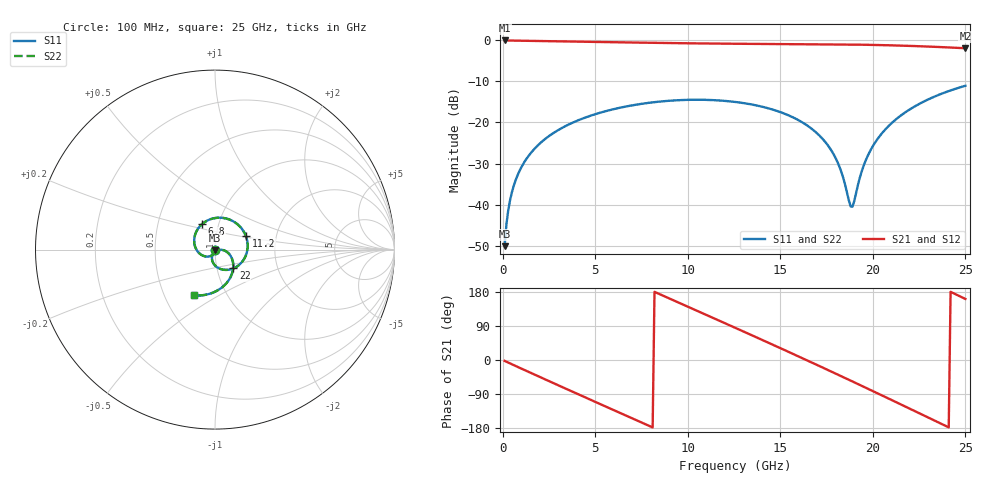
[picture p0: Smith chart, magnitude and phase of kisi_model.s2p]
! kisi C_s8_ap600: fast channel model (formula impedances, via model), up to 25 GHz
# Hz S RI R 50
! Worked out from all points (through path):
!   250 points, 100 MHz to 25 GHz, reference 50 ohm
!   highest |S21| = -0.02 dB at 100 MHz (marker M1); lowest = -1.9 dB at 25 GHz (marker M2)
!   group delay of S21, straight-line fit = 61.7 ps
!   lowest |S11| = -50.1 dB at 100 MHz (marker M3), VSWR 1.01, Z = 50.1 - j0.286 ohm
!   |S11| at or under -10 dB: start of sweep to end of sweep
!   |S22| runs from -50.1 to -11.1 dB; largest |S21 - S12| = 0
!   S11 on the Smith chart (normalised r, x): 100 MHz: 1.00, -0.01; 6.8 GHz: 0.83, +0.24; 11.2 GHz: 1.40, +0.22; 22 GHz: 1.20, -0.25; 25 GHz: 0.70, -0.39
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1e8  0.00126 -0.00285  0.997 -0.0406  0.997 -0.0406  0.00126 -0.00285
2e8  0.000961 -0.00574  0.9937 -0.0802  0.9937 -0.0802  0.000961 -0.00574
4e8  -0.000423 -0.0115  0.9826 -0.1581  0.9826 -0.1581  -0.000423 -0.0115
1.1e9  -0.0124 -0.0286  0.8984 -0.415  0.8984 -0.415  -0.0124 -0.0286
2.8e9  -0.0683 -0.0333  0.4527 -0.8647  0.4527 -0.8647  -0.0683 -0.0333
4.3e9  -0.1103 0.0151  -0.0882 -0.9596  -0.0882 -0.9596  -0.1103 0.0151
5.5e9  -0.1127 0.0765  -0.4976 -0.8137  -0.4976 -0.8137  -0.1127 0.0765
6.8e9  -0.0737 0.1407  -0.8148 -0.4753  -0.8148 -0.4753  -0.0737 0.1407
8.4e9  0.0207 0.1777  -0.9286 0.0729  -0.9286 0.0729  0.0207 0.1777
9.7e9  0.1059 0.155  -0.7768 0.4986  -0.7768 0.4986  0.1059 0.155
1.12e10  0.172 0.0758  -0.3826 0.8313  -0.3826 0.8313  0.172 0.0758
1.26e10  0.1765 -0.0187  0.0922 0.9049  0.0922 0.9049  0.1765 -0.0187
1.37e10  0.1405 -0.0796  0.4524 0.7854  0.4524 0.7854  0.1405 -0.0796
1.49e10  0.0778 -0.1119  0.7531 0.4994  0.7531 0.4994  0.0778 -0.1119
1.67e10  -0.00415 -0.0836  0.8931 -0.1046  0.8931 -0.1046  -0.00415 -0.0836
1.79e10  -0.0158 -0.037  0.7432 -0.4984  0.7432 -0.4984  -0.0158 -0.037
1.89e10  0.00642 -0.00691  0.4882 -0.7433  0.4882 -0.7433  0.00642 -0.00691
1.97e10  0.0383 -0.00123  0.2269 -0.8537  0.2269 -0.8537  0.0383 -0.00123
2.09e10  0.0863 -0.0343  -0.1949 -0.8492  -0.1949 -0.8492  0.0863 -0.0343
2.2e10  0.1014 -0.1031  -0.5342 -0.6699  -0.5342 -0.6699  0.1014 -0.1031
2.35e10  0.0387 -0.2109  -0.7984 -0.2337  -0.7984 -0.2337  0.0387 -0.2109
2.5e10  -0.1151 -0.2553  -0.7593 0.2597  -0.7593 0.2597  -0.1151 -0.2553
